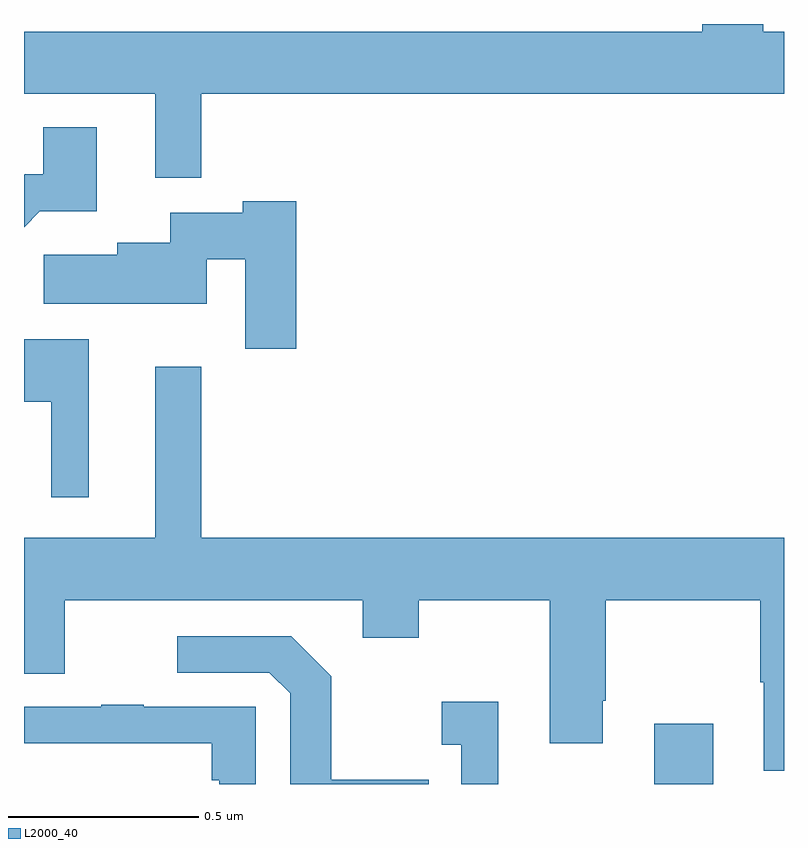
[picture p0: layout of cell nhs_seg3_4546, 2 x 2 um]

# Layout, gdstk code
import gdstk
lib = gdstk.Library(unit=1e-6, precision=1e-09)
def R(c, l, rs):  # rectangles x0, y0, x1, y1
    for r in rs: c.add(gdstk.rectangle(r[:2], r[2:], *l))
def P(c, l, *ps):  # polygons
    for p in ps: c.add(gdstk.Polygon(p, *l))
L2000_40 = (2000, 40)

nhs_seg3_4546 = lib.new_cell('nhs_seg3_4546')
R(nhs_seg3_4546, L2000_40, [(168.659,732.4,168.814,732.559)])
P(nhs_seg3_4546, L2000_40, [(167.467,734.216),(169,734.216),(169,734.38),(168.945,734.38),(168.945,734.4),(168.785,734.4),(168.785,734.38),(167,734.38),(167,734.216),(167.345,734.216),(167.345,733.995),(167.467,733.995)],
  [(167.042,733.907),(167.191,733.907),(167.191,734.128),(167.051,734.128),(167.051,734.005),(167.002,734.005),(167,734.003),(167,733.865)],
  [(167.717,733.933),(167.575,733.933),(167.575,733.903),(167.385,733.903),(167.385,733.825),(167.246,733.825),(167.246,733.793),(167.052,733.793),(167.052,733.664),(167.481,733.664),(167.481,733.781),(167.582,733.781),(167.582,733.545),(167.717,733.545)],
  [(167.17,733.57),(167,733.57),(167,733.406),(167.072,733.406),(167.072,733.155),(167.17,733.155)],
  [(169,733.048),(167.467,733.048),(167.467,733.498),(167.345,733.498),(167.345,733.048),(167,733.048),(167,732.69),(167.107,732.69),(167.107,732.884),(167.891,732.884),(167.891,732.785),(168.039,732.785),(168.039,732.884),(168.383,732.884),(168.383,732.507),(168.523,732.507),(168.523,732.619),(168.531,732.619),(168.531,732.884),(168.937,732.884),(168.937,732.668),(168.947,732.668),(168.947,732.435),(169,732.435)],
  [(168.065,732.411),(167.809,732.411),(167.809,732.683),(167.703,732.789),(167.403,732.789),(167.403,732.693),(167.646,732.693),(167.7,732.639),(167.7,732.4),(168.065,732.4)],
  [(168.248,732.616),(168.099,732.616),(168.099,732.503),(168.15,732.503),(168.15,732.4),(168.248,732.4)],
  [(167.61,732.603),(167.315,732.603),(167.315,732.608),(167.203,732.608),(167.203,732.603),(167,732.603),(167,732.507),(167.494,732.507),(167.494,732.41),(167.514,732.41),(167.514,732.4),(167.61,732.4)])

lib.write_gds('nhs_seg3_4546.gds')
